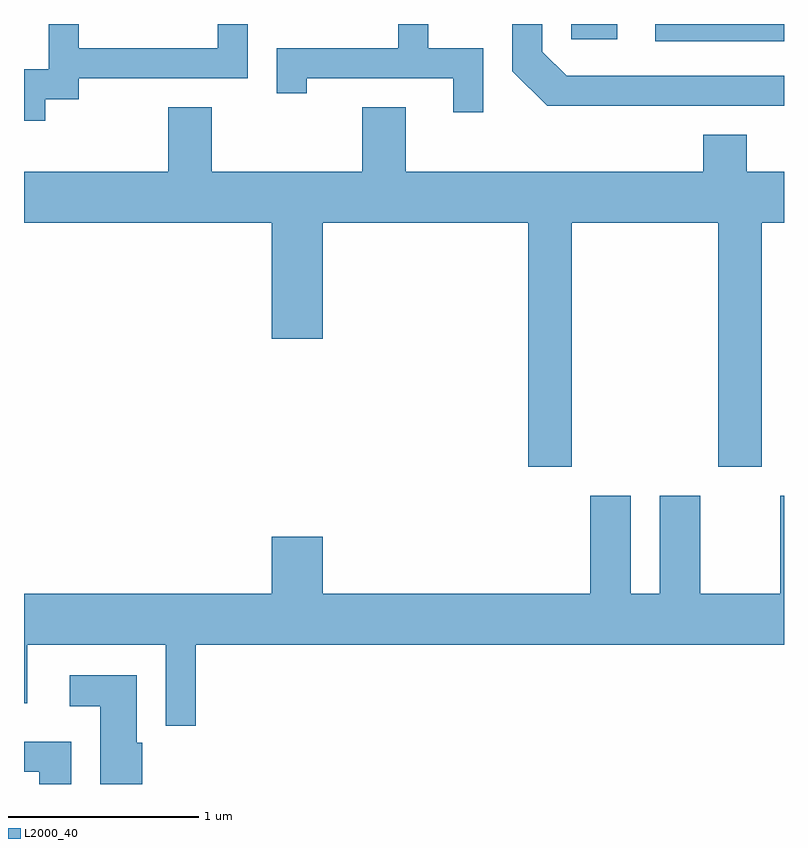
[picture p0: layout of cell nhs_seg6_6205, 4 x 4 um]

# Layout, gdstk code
import gdstk
lib = gdstk.Library(unit=1e-6, precision=1e-09)
def R(c, l, rs):  # rectangles x0, y0, x1, y1
    for r in rs: c.add(gdstk.rectangle(r[:2], r[2:], *l))
def P(c, l, *ps):  # polygons
    for p in ps: c.add(gdstk.Polygon(p, *l))
L2000_40 = (2000, 40)

nhs_seg6_6205 = lib.new_cell('nhs_seg6_6205')
R(nhs_seg6_6205, L2000_40, [(376.933,1582.071,377.611,1582.162), (376.491,1582.081,376.733,1582.162)])
P(nhs_seg6_6205, L2000_40, [(377.611,1581.889),(376.467,1581.889),(376.339,1582.017),(376.339,1582.162),(376.181,1582.162),(376.181,1581.914),(376.364,1581.731),(377.611,1581.731)],
  [(373.724,1581.766),(373.899,1581.766),(373.899,1581.876),(374.789,1581.876),(374.789,1582.162),(374.631,1582.162),(374.631,1582.034),(373.899,1582.034),(373.899,1582.162),(373.741,1582.162),(373.741,1581.924),(373.611,1581.924),(373.611,1581.653),(373.724,1581.653)],
  [(376.029,1582.034),(375.739,1582.034),(375.739,1582.162),(375.581,1582.162),(375.581,1582.034),(374.941,1582.034),(374.941,1581.798),(375.099,1581.798),(375.099,1581.876),(375.871,1581.876),(375.871,1581.698),(376.029,1581.698)],
  [(376.494,1581.116),(377.266,1581.116),(377.266,1579.831),(377.494,1579.831),(377.494,1581.116),(377.611,1581.116),(377.611,1581.384),(377.414,1581.384),(377.414,1581.579),(377.186,1581.579),(377.186,1581.384),(375.619,1581.384),(375.619,1581.724),(375.391,1581.724),(375.391,1581.384),(374.599,1581.384),(374.599,1581.724),(374.371,1581.724),(374.371,1581.384),(373.611,1581.384),(373.611,1581.116),(374.916,1581.116),(374.916,1580.506),(375.184,1580.506),(375.184,1581.116),(376.266,1581.116),(376.266,1579.831),(376.494,1579.831)],
  [(374.514,1578.896),(377.611,1578.896),(377.611,1579.679),(377.591,1579.679),(377.591,1579.164),(377.169,1579.164),(377.169,1579.679),(376.956,1579.679),(376.956,1579.164),(376.804,1579.164),(376.804,1579.679),(376.591,1579.679),(376.591,1579.164),(375.184,1579.164),(375.184,1579.464),(374.916,1579.464),(374.916,1579.164),(373.611,1579.164),(373.611,1578.586),(373.629,1578.586),(373.629,1578.896),(374.356,1578.896),(374.356,1578.468),(374.514,1578.468)],
  [(374.234,1578.379),(374.204,1578.379),(374.204,1578.734),(373.853,1578.734),(373.853,1578.571),(374.011,1578.571),(374.011,1578.162),(374.234,1578.162)],
  [(373.859,1578.384),(373.611,1578.384),(373.611,1578.226),(373.691,1578.226),(373.691,1578.162),(373.859,1578.162)])

lib.write_gds('nhs_seg6_6205.gds')
